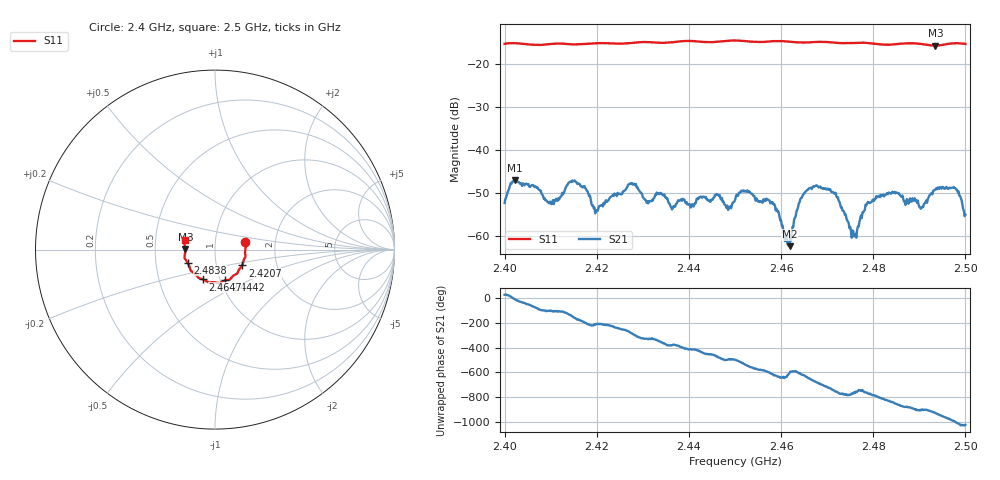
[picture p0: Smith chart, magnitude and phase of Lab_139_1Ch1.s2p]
# Hz S RI R 50
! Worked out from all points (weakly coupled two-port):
!   601 points, 2.4 GHz to 2.5 GHz, reference 50 ohm
!   highest |S21| = -46.91 dB at 2.4022 GHz (marker M1); lowest = -62.3 dB at 2.4618 GHz (marker M2)
!   lowest |S11| = -15.6 dB at 2.4935 GHz (marker M3), VSWR 1.40, Z = 35.8 + j0.131 ohm
!   |S11| at or under -10 dB: start of sweep to end of sweep
!   S12 and S22 are empty: the file has one direction only
!   S11 on the Smith chart (normalised r, x): 2.4 GHz: 1.40, +0.11; 2.4207 GHz: 1.33, -0.24; 2.4442 GHz: 1.05, -0.37; 2.4647 GHz: 0.83, -0.29; 2.4838 GHz: 0.73, -0.11; 2.5 GHz: 0.71, +0.08
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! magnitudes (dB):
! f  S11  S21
! 2.4 GHz  -15.2  -52.2
! 2.4022 GHz  -15.1  -46.9
! 2.4098 GHz  -15.3  -52.0
! 2.4167 GHz  -15.3  -48.4
! 2.4207 GHz  -15.1  -52.9
! 2.4273 GHz  -15.1  -47.7
! 2.4333 GHz  -15.0  -50.0
! 2.4442 GHz  -14.9  -51.7
! 2.45 GHz  -14.5  -51.6
! 2.4577 GHz  -14.7  -52.3
! 2.4618 GHz  -14.7  -62.3
! 2.4647 GHz  -14.9  -50.5
! 2.4667 GHz  -14.9  -49.0
! 2.4718 GHz  -15.0  -49.9
! 2.4758 GHz  -15.0  -60.0
! 2.4788 GHz  -15.1  -52.0
! 2.4833 GHz  -15.5  -49.8
! 2.4838 GHz  -15.4  -50.1
! 2.4903 GHz  -15.3  -53.6
! 2.4935 GHz  -15.6  -49.1
! 2.498 GHz  -15.1  -49.1
! 2.5 GHz  -15.3  -55.0
